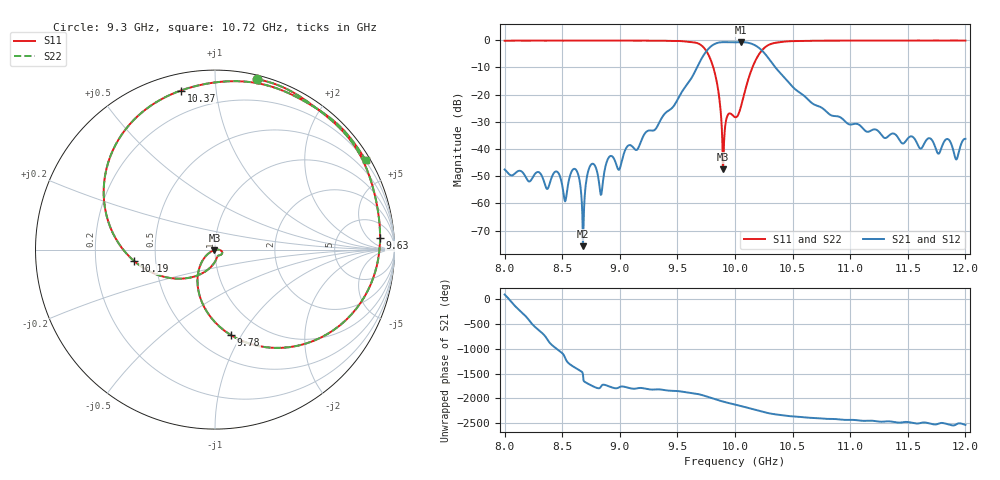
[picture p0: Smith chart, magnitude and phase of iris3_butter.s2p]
! 3rd-order iris, Butterworth (base-paper dimensions)
! openEMS v0.37 FDTD, reciprocal & symmetric: S22=S11, S12=S21
# GHz S MA R 50
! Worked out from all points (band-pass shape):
!   801 points, 8 GHz to 12 GHz, reference 50 ohm
!   highest |S21| = -0.71 dB at 10.05 GHz (marker M1); lowest = -75.7 dB at 8.68 GHz (marker M2)
!   |S21| within 3 dB of the highest: 9.758 GHz to 10.23 GHz (474.2 MHz wide, 4.74 % of centre)
!   lowest |S11| = -47.5 dB at 9.895 GHz (marker M3), VSWR 1.01, Z = 49.7 - j0.301 ohm
!   |S11| at or under -10 dB: 9.811 GHz to 10.15 GHz (339.8 MHz wide, 3.4 % of centre)
!   |S22| runs from -47.5 to -0.1 dB; largest |S21 - S12| = 0
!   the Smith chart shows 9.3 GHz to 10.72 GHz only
!   S11 on the Smith chart (normalised r, x): 9.3 GHz: 0.03, +1.27; 9.63 GHz: 14, +12; 9.78 GHz: 0.72, -0.90; 10.19 GHz: 0.38, -0.06; 10.37 GHz: 0.08, +0.80; 10.72 GHz: 0.16, +3.62
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8  0.977 -126.7  0.004202 91.3  0.004202 91.3  0.977 -126.7
8.455  0.9827 -179.8  0.003829 75.4  0.003829 75.4  0.9827 -179.8
8.525  0.9839 172.5  0.001089 -101.2  0.001089 -101.2  0.9839 172.5
8.61  0.9836 162.4  0.004309 62.1  0.004309 62.1  0.9836 162.4
8.67  0.9833 155.8  0.001058 -22.7  0.001058 -22.7  0.9833 155.8
8.68  0.9842 154.7  0.0001636 -70.0  0.0001636 -70.0  0.9842 154.7
8.75  0.9854 146.3  0.005162 65.1  0.005162 65.1  0.9854 146.3
8.84  0.9846 136.0  0.001471 52.0  0.001471 52.0  0.9846 136.0
8.91  0.985 127.4  0.007229 40.9  0.007229 40.9  0.985 127.4
9.3  0.9782 76.2  0.02222 -19.7  0.02222 -19.7  0.9782 76.2
9.335  0.981 70.7  0.02841 -16.5  0.02841 -16.5  0.981 70.7
9.63  0.9219 4.0  0.2152 -91.2  0.2152 -91.2  0.9219 4.0
9.78  0.4852 -79.4  0.7338 -179.0  0.7338 -179.0  0.4852 -79.4
9.895  0.004214 -134.0  0.921 98.4  0.921 98.4  0.004214 -134.0
10  0.03856 -58.9  0.9154 37.2  0.9154 37.2  0.03856 -58.9
10.05  0.05841 -85.1  0.9215 8.9  0.9215 8.9  0.05841 -85.1
10.185  0.4537 -171.7  0.7822 -74.4  0.7822 -74.4  0.4537 -171.7
10.365  0.9065 102.1  0.2905 -163.9  0.2905 -163.9  0.9065 102.1
10.67  0.977 38.5  0.06925 130.0  0.06925 130.0  0.977 38.5
10.725  0.9769 30.8  0.06127 124.0  0.06127 124.0  0.9769 30.8
11.335  0.9826 -37.9  0.01751 60.7  0.01751 60.7  0.9826 -37.9
12  0.9862 -99.6  0.0154 -11.5  0.0154 -11.5  0.9862 -99.6
